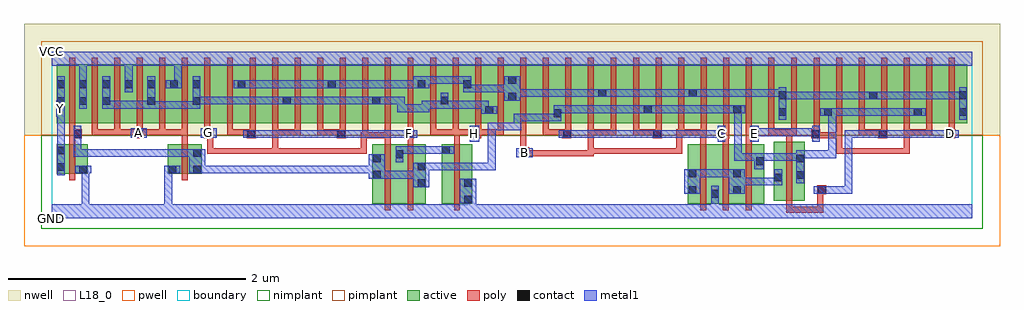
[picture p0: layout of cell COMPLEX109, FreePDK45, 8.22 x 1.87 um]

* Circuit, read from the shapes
.subckt COMPLEX109 A B C D E F G GND H VCC Y
M1 GND n1 Y VSUBS nfet w=0.25u l=0.05u
M2 n1 A GND VSUBS nfet w=0.25u l=0.05u
M3 n2 G n1 VSUBS nfet w=0.5u l=0.05u
M4 n1 F n2 VSUBS nfet w=0.5u l=0.05u
M5 GND H n2 VSUBS nfet w=0.5u l=0.05u
M6 GND B n3 VSUBS nfet w=0.5u l=0.05u
M7 n3 C GND VSUBS nfet w=0.5u l=0.05u
M8 n1 E n3 VSUBS nfet w=0.5u l=0.05u
M9 n1 D n3 VSUBS nfet w=0.5u l=0.05u
M10 VCC n1 Y n4 pfet w=0.5u l=0.05u
M11 n5 A VCC n4 pfet w=0.5u l=0.05u m=5
M12 n6 G n5 n4 pfet w=0.5u l=0.05u
M13 n7 F n6 n4 pfet w=0.5u l=0.05u
M14 n8 F n7 n4 pfet w=0.5u l=0.05u
M15 n5 G n8 n4 pfet w=0.5u l=0.05u
M16 n9 G n5 n4 pfet w=0.5u l=0.05u
M17 n7 F n9 n4 pfet w=0.5u l=0.05u
M18 n10 F n7 n4 pfet w=0.5u l=0.05u
M19 n5 G n10 n4 pfet w=0.5u l=0.05u
M20 n11 G n5 n4 pfet w=0.5u l=0.05u
M21 n7 F n11 n4 pfet w=0.5u l=0.05u
M22 n5 H n7 n4 pfet w=0.5u l=0.05u m=4
M23 n12 B n7 n4 pfet w=0.5u l=0.05u
M24 n1 C n12 n4 pfet w=0.5u l=0.05u
M25 n13 C n1 n4 pfet w=0.5u l=0.05u
M26 n7 B n13 n4 pfet w=0.5u l=0.05u
M27 n14 B n7 n4 pfet w=0.5u l=0.05u
M28 n1 C n14 n4 pfet w=0.5u l=0.05u
M29 n15 C n1 n4 pfet w=0.5u l=0.05u
M30 n7 B n15 n4 pfet w=0.5u l=0.05u
M31 n16 B n7 n4 pfet w=0.5u l=0.05u
M32 n1 C n16 n4 pfet w=0.5u l=0.05u
M33 n17 E n1 n4 pfet w=0.5u l=0.05u
M34 n7 D n17 n4 pfet w=0.5u l=0.05u
M35 n18 D n7 n4 pfet w=0.5u l=0.05u
M36 n1 E n18 n4 pfet w=0.5u l=0.05u
M37 n19 E n1 n4 pfet w=0.5u l=0.05u
M38 n7 D n19 n4 pfet w=0.5u l=0.05u
M39 n20 D n7 n4 pfet w=0.5u l=0.05u
M40 n1 E n20 n4 pfet w=0.5u l=0.05u
M41 n21 E n1 n4 pfet w=0.5u l=0.05u
M42 n7 D n21 n4 pfet w=0.5u l=0.05u
.ends

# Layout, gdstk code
import gdstk
lib = gdstk.Library(unit=1e-6, precision=1e-09)
def R(c, l, rs):  # rectangles x0, y0, x1, y1
    for r in rs: c.add(gdstk.rectangle(r[:2], r[2:], *l))
def A(c, l, x, y, w, h, nx, ny, dx, dy):  # array of equal rectangles
    R(c, l, [(x+i*dx, y+j*dy, x+i*dx+w, y+j*dy+h) for i in range(nx) for j in range(ny)])
active = (1, 0)
pwell = (2, 0)
nwell = (3, 0)
nimplant = (4, 0)
pimplant = (5, 0)
poly = (9, 0)
contact = (10, 0)
metal1 = (11, 0)
L18_0 = (18, 0)
boundary = (235, 0)

complex109 = lib.new_cell('COMPLEX109')
A(complex109, active, 0.04, 0.797, 0.075, 0.403, 5, 1, 0.38, 0)
A(complex109, active, 0.42, 0.797, 0.265, 0.5, 4, 1, 0.19, 0)
A(complex109, active, 1.18, 0.797, 0.225, 0.5, 4, 1, 0.38, 0)
A(complex109, active, 1.405, 0.797, 0.23, 0.5, 3, 1, 0.38, 0)
R(complex109, active, [(3.282,0.12,3.542,0.62), (3.467,0.12,3.542,0.62), (2.7,0.122,2.965,0.622), (2.89,0.122,3.15,0.622), (5.357,0.122,5.622,0.622), (5.547,0.122,5.807,0.622), (5.732,0.122,6,0.622), (5.547,0.132,5.622,0.592), (2.7,0.145,2.775,0.622), (2.89,0.145,2.965,0.592), (3.075,0.145,3.15,0.622), (3.282,0.145,3.357,0.62), (5.357,0.145,5.432,0.622), (5.732,0.145,5.807,0.592), (5.925,0.145,6,0.622), (6.08,0.145,6.155,0.645), (6.08,0.145,6.34,0.645), (6.265,0.145,6.34,0.645), (0.04,0.372,0.115,0.622), (0.04,0.372,0.3,0.622), (0.225,0.372,0.3,0.622), (0.977,0.372,1.052,0.622), (0.977,0.372,1.26,0.622), (1.185,0.372,1.26,0.622), (0.04,0.797,0.3,1.297), (0.225,0.797,0.3,1.297), (0.225,0.797,0.495,1.297), (0.61,0.797,0.685,1.297), (0.99,0.797,1.065,1.297), (1.94,0.797,2.015,1.07), (2.32,0.797,2.395,1.2), (2.545,0.797,2.77,1.297), (2.695,0.797,2.925,1.297), (2.695,0.797,2.77,1.07), (2.925,0.797,3.15,1.297), (3.075,0.797,3.345,1.297), (3.27,0.797,3.535,1.297), (3.27,0.797,3.345,1.07), (3.46,0.797,3.72,1.297), (3.46,0.797,3.535,1.2), (3.645,0.797,3.72,1.07), (3.645,0.797,3.915,1.297), (3.84,0.797,3.915,1.2), (3.84,0.797,4.065,1.297), (4.065,0.797,4.295,1.297), (4.22,0.797,4.445,1.297), (4.22,0.797,4.295,1.07), (4.445,0.797,4.672,1.297), (4.597,0.797,4.672,1.2), (4.597,0.797,4.825,1.297), (4.825,0.797,5.055,1.297), (4.98,0.797,5.205,1.297), (4.98,0.797,5.055,1.07), (5.205,0.797,5.435,1.297), (5.36,0.797,5.435,1.2), (5.36,0.797,5.585,1.297), (5.585,0.797,5.81,1.297), (5.735,0.797,5.965,1.297), (5.735,0.797,5.81,1.07), (5.965,0.797,6.19,1.297), (6.115,0.797,6.19,1.2), (6.115,0.797,6.345,1.297), (6.345,0.797,6.575,1.297), (6.5,0.797,6.725,1.297), (6.5,0.797,6.575,1.07), (6.725,0.797,6.955,1.297), (6.88,0.797,6.955,1.2), (6.88,0.797,7.105,1.297), (7.105,0.797,7.33,1.297), (7.255,0.797,7.485,1.297), (7.255,0.797,7.33,1.07), (7.485,0.797,7.71,1.297), (7.635,0.797,7.71,1.2), (3.075,0.807,3.15,1.2)])
R(complex109, pwell, [(-0.235,-0.235,7.985,0.7)])
R(complex109, nwell, [(-0.235,0.7,7.985,1.635)])
R(complex109, nimplant, [(-0.09,-0.09,7.84,0.7)])
R(complex109, pimplant, [(-0.09,0.7,7.84,1.49)])
A(complex109, poly, 0.145, 0.697, 0.05, 0.095, 13, 1, 0.19, 0)
A(complex109, poly, 1.855, 0.697, 0.05, 0.05, 3, 1, 0.19, 0)
A(complex109, poly, 2.995, 0.697, 0.05, 0.095, 5, 1, 0.19, 0)
A(complex109, poly, 4.135, 0.697, 0.05, 0.095, 13, 1, 0.19, 0)
A(complex109, poly, 4.515, 0.697, 0.05, 0.05, 3, 1, 0.19, 0)
A(complex109, poly, 6.795, 0.697, 0.05, 0.095, 5, 1, 0.19, 0)
A(complex109, poly, 0.145, 0.742, 0.05, 0.61, 40, 1, 0.19, 0)
R(complex109, poly, [(6.185,0.045,6.235,0.14), (6.185,0.045,6.235,0.095), (6.185,0.045,6.235,0.095), (6.185,0.045,6.235,0.095), (6.185,0.045,6.497,0.095), (6.447,0.045,6.497,0.095), (6.447,0.045,6.497,0.095), (6.447,0.045,6.497,0.095), (6.447,0.045,6.497,0.25), (3.387,0.065,3.437,0.675), (2.805,0.067,2.855,0.677), (2.995,0.067,3.045,0.677), (5.462,0.067,5.512,0.677), (5.652,0.067,5.702,0.677), (5.845,0.067,5.895,0.677), (6.185,0.09,6.235,0.7), (6.447,0.2,6.522,0.275), (0.145,0.317,0.195,0.677), (1.095,0.317,1.145,0.677), (3.945,0.52,4.02,0.595), (3.97,0.52,4.02,0.57), (3.97,0.52,4.02,0.57), (3.97,0.52,4.02,0.57), (3.97,0.52,4.02,0.57), (3.97,0.52,4.02,0.57), (3.97,0.52,4.02,0.57), (3.97,0.52,4.217,0.57), (4.167,0.52,4.217,0.57), (4.167,0.52,4.217,0.57), (4.167,0.52,4.217,0.57), (4.167,0.52,4.375,0.57), (4.325,0.52,4.375,0.57), (4.325,0.52,4.375,0.57), (4.325,0.52,4.375,0.57), (4.325,0.52,4.565,0.57), (4.515,0.52,4.565,0.59), (1.31,0.54,1.36,0.59), (1.31,0.54,1.36,0.59), (1.31,0.54,1.36,0.59), (1.31,0.54,1.36,0.722), (1.31,0.54,1.557,0.59), (1.507,0.54,1.557,0.59), (1.507,0.54,1.557,0.59), (1.507,0.54,1.557,0.59), (1.507,0.54,1.772,0.59), (1.722,0.54,1.772,0.59), (1.722,0.54,1.772,0.59), (1.722,0.54,1.772,0.59), (1.722,0.54,1.905,0.59), (1.855,0.54,1.905,0.59), (1.855,0.54,1.905,0.59), (1.855,0.54,1.905,0.59), (1.855,0.54,1.905,0.59), (1.855,0.54,1.905,0.59), (1.855,0.54,1.905,0.747), (1.855,0.54,2.087,0.59), (2.037,0.54,2.087,0.59), (2.037,0.54,2.087,0.59), (2.037,0.54,2.087,0.59), (2.037,0.54,2.22,0.59), (2.17,0.54,2.22,0.59), (2.17,0.54,2.517,0.59), (2.467,0.54,2.517,0.59), (2.467,0.54,2.517,0.59), (2.467,0.54,2.517,0.59), (2.467,0.54,2.65,0.59), (2.6,0.54,2.65,0.59), (2.6,0.54,2.65,0.59), (2.6,0.54,2.65,0.59), (2.6,0.54,2.65,0.59), (2.6,0.54,2.65,0.59), (2.6,0.54,2.65,0.722), (4.515,0.54,4.565,0.59), (4.515,0.54,4.565,0.59), (4.515,0.54,4.565,0.59), (4.515,0.54,4.565,0.59), (4.515,0.54,4.565,0.747), (4.515,0.54,4.697,0.59), (4.647,0.54,4.697,0.59), (4.647,0.54,4.697,0.59), (4.647,0.54,4.697,0.59), (4.647,0.54,4.83,0.59), (4.78,0.54,4.83,0.59), (4.78,0.54,5.175,0.59), (5.125,0.54,5.175,0.59), (5.125,0.54,5.175,0.59), (5.125,0.54,5.175,0.59), (5.125,0.54,5.307,0.59), (5.257,0.54,5.307,0.59), (5.257,0.54,5.307,0.59), (5.257,0.54,5.307,0.59), (5.257,0.54,5.307,0.747), (6.605,0.54,6.655,0.59), (6.605,0.54,6.655,0.59), (6.605,0.54,6.655,0.59), (6.605,0.54,6.655,0.59), (6.605,0.54,6.655,0.59), (6.605,0.54,6.877,0.59), (6.605,0.54,6.655,0.722), (6.827,0.54,6.877,0.59), (6.827,0.54,6.96,0.59), (6.91,0.54,6.96,0.59), (6.91,0.54,7.092,0.59), (7.042,0.54,7.092,0.59), (7.042,0.54,7.092,0.59), (7.042,0.54,7.092,0.59), (7.042,0.54,7.225,0.59), (7.175,0.54,7.225,0.59), (7.175,0.54,7.225,0.59), (7.175,0.54,7.225,0.59), (7.175,0.54,7.225,0.747), (3.945,0.545,3.995,0.792), (3.387,0.625,3.437,0.747), (0.145,0.627,0.195,0.722), (1.095,0.627,1.145,0.747), (2.805,0.627,2.855,0.722), (2.995,0.627,3.045,0.722), (5.462,0.627,5.512,0.747), (5.652,0.627,5.702,0.722), (5.845,0.627,5.895,0.722), (6.185,0.65,6.235,0.747), (0.145,0.672,0.252,0.747), (0.695,0.672,0.77,0.747), (1.285,0.672,1.36,0.747), (1.31,0.672,1.36,0.722), (1.31,0.672,1.36,0.722), (1.64,0.672,1.715,0.747), (2.4,0.672,2.475,0.747), (2.6,0.672,2.665,0.722), (2.615,0.672,2.855,0.722), (2.615,0.672,2.665,0.792), (2.805,0.672,2.855,0.722), (2.805,0.672,2.855,0.722), (2.805,0.672,2.855,0.722), (2.805,0.672,2.855,0.792), (2.972,0.672,3.047,0.747), (3.53,0.672,3.615,0.747), (4.3,0.672,4.375,0.747), (5.06,0.672,5.135,0.747), (5.602,0.672,5.705,0.747), (5.845,0.672,5.952,0.747), (6.397,0.672,6.472,0.747), (6.422,0.672,6.472,0.722), (6.422,0.672,6.472,0.722), (6.422,0.672,6.655,0.722), (6.605,0.672,6.655,0.722), (6.605,0.672,6.655,0.792), (6.96,0.672,7.035,0.747), (7.532,0.672,7.607,0.747), (0.335,0.697,0.385,0.747), (0.335,0.697,0.385,0.747), (0.335,0.697,0.385,0.747), (0.335,0.697,0.575,0.747), (0.525,0.697,0.575,0.747), (0.525,0.697,0.575,0.747), (0.525,0.697,0.575,0.747), (0.525,0.697,0.745,0.747), (0.72,0.697,0.77,0.747), (0.72,0.697,0.77,0.747), (0.72,0.697,0.955,0.747), (0.905,0.697,0.955,0.747), (0.905,0.697,1.145,0.747), (1.095,0.697,1.145,0.747), (1.095,0.697,1.145,0.747), (1.095,0.697,1.145,0.747), (1.475,0.697,1.525,0.747), (1.475,0.697,1.525,0.747), (1.475,0.697,1.525,0.747), (1.475,0.697,1.69,0.747), (1.855,0.697,1.905,0.747), (1.855,0.697,1.905,0.747), (1.855,0.697,2.095,0.747), (2.235,0.697,2.285,0.747), (2.235,0.697,2.285,0.747), (2.235,0.697,2.45,0.747), (3.185,0.697,3.235,0.747), (3.185,0.697,3.235,0.747), (3.185,0.697,3.235,0.747), (3.185,0.697,3.425,0.747), (3.375,0.697,3.437,0.747), (3.387,0.697,3.437,0.747), (3.387,0.697,3.437,0.747), (3.387,0.697,3.58,0.747), (3.565,0.697,3.805,0.747), (3.755,0.697,3.805,0.747), (3.755,0.697,3.805,0.747), (3.755,0.697,3.805,0.747), (4.135,0.697,4.185,0.747), (4.135,0.697,4.185,0.747), (4.135,0.697,4.185,0.747), (4.135,0.697,4.35,0.747), (4.515,0.697,4.565,0.747), (4.515,0.697,4.565,0.747), (4.515,0.697,4.755,0.747), (4.895,0.697,5.11,0.747), (5.06,0.697,5.11,0.747), (5.06,0.697,5.11,0.747), (5.257,0.697,5.307,0.747), (5.257,0.697,5.307,0.747), (5.257,0.697,5.325,0.747), (5.275,0.697,5.512,0.747), (5.462,0.697,5.512,0.747), (5.462,0.697,5.512,0.747), (5.462,0.697,5.515,0.747), (6.035,0.697,6.085,0.747), (6.035,0.697,6.085,0.747), (6.035,0.697,6.085,0.747), (6.035,0.697,6.235,0.747), (6.185,0.697,6.275,0.747), (6.795,0.697,6.845,0.747), (6.795,0.697,6.845,0.747), (6.795,0.697,6.845,0.747), (6.795,0.697,7.01,0.747), (7.175,0.697,7.225,0.747), (7.175,0.697,7.415,0.747), (7.365,0.697,7.415,0.747), (7.365,0.697,7.415,0.747), (7.365,0.697,7.415,0.747)])
A(complex109, contact, 0.425, 0.955, 0.065, 0.065, 3, 1, 0.38, 0)
A(complex109, contact, 0.425, 1.095, 0.065, 0.065, 5, 1, 0.19, 0)
R(complex109, contact, [(3.472,0.125,3.537,0.19), (5.552,0.172,5.617,0.237), (5.362,0.205,5.427,0.27), (5.737,0.205,5.802,0.27), (6.452,0.205,6.517,0.27), (3.08,0.262,3.145,0.327), (3.472,0.265,3.537,0.33), (6.085,0.31,6.15,0.375), (6.27,0.33,6.335,0.395), (2.705,0.332,2.77,0.397), (5.362,0.345,5.427,0.41), (5.737,0.345,5.802,0.41), (0.23,0.377,0.295,0.442), (0.982,0.377,1.047,0.442), (1.19,0.377,1.255,0.442), (0.045,0.397,0.11,0.462), (3.08,0.402,3.145,0.467), (5.93,0.447,5.995,0.512), (6.27,0.47,6.335,0.535), (2.705,0.472,2.77,0.537), (2.895,0.505,2.96,0.57), (1.19,0.517,1.255,0.582), (3.95,0.525,4.015,0.59), (0.045,0.537,0.11,0.602), (3.287,0.54,3.352,0.605), (0.182,0.677,0.247,0.742), (0.7,0.677,0.765,0.742), (1.29,0.677,1.355,0.742), (1.645,0.677,1.71,0.742), (2.405,0.677,2.47,0.742), (2.977,0.677,3.042,0.742), (3.535,0.677,3.6,0.742), (4.305,0.677,4.37,0.742), (5.065,0.677,5.13,0.742), (5.607,0.677,5.672,0.742), (5.882,0.677,5.947,0.742), (6.402,0.677,6.467,0.742), (6.965,0.677,7.03,0.742), (7.537,0.677,7.602,0.742), (4.225,0.85,4.29,0.915), (6.12,0.862,6.185,0.927), (6.505,0.862,6.57,0.927), (7.26,0.862,7.325,0.927), (7.64,0.862,7.705,0.927), (3.65,0.877,3.715,0.942), (4.985,0.885,5.05,0.95), (5.74,0.885,5.805,0.95), (0.045,0.955,0.11,1.02), (0.23,0.955,0.295,1.02), (1.945,0.957,2.01,1.022), (2.7,0.957,2.765,1.022), (3.275,0.957,3.34,1.022), (3.845,0.99,3.91,1.055), (6.885,1,6.95,1.065), (6.12,1.002,6.185,1.067), (7.64,1.002,7.705,1.067), (4.602,1.022,4.667,1.087), (5.365,1.022,5.43,1.087), (0.045,1.095,0.11,1.16), (0.23,1.095,0.295,1.16), (1.565,1.095,1.63,1.16), (2.325,1.095,2.39,1.16), (3.08,1.095,3.145,1.16), (3.465,1.095,3.53,1.16), (3.845,1.13,3.91,1.195)])
A(complex109, metal1, 0.425, 0.92, 0.065, 0.275, 3, 1, 0.38, 0)
R(complex109, metal1, [(0,0,7.75,0.115), (0.25,0.05,0.315,0.395), (0.947,0.05,1.012,0.442), (3.507,0.05,3.572,0.19), (5.552,0.05,5.617,0.202), (3.437,0.125,3.572,0.33), (3.507,0.125,3.572,0.19), (3.507,0.125,3.572,0.19), (5.552,0.137,5.617,0.202), (5.552,0.137,5.617,0.202), (5.552,0.137,5.617,0.272), (5.327,0.205,5.462,0.41), (5.702,0.205,5.837,0.41), (6.417,0.205,6.552,0.27), (6.487,0.205,6.552,0.27), (6.487,0.205,6.552,0.27), (6.487,0.205,6.552,0.27), (6.487,0.205,6.552,0.27), (6.487,0.205,6.72,0.27), (6.655,0.205,6.72,0.27), (6.655,0.205,6.742,0.27), (6.677,0.205,6.742,0.27), (6.677,0.205,6.742,0.742), (3.045,0.262,3.18,0.467), (5.772,0.275,5.975,0.34), (5.91,0.275,5.975,0.34), (5.91,0.275,5.975,0.34), (5.91,0.275,5.975,0.34), (5.91,0.275,6.15,0.34), (6.085,0.275,6.15,0.34), (6.085,0.275,6.15,0.34), (6.085,0.275,6.15,0.41), (6.27,0.295,6.335,0.57), (0.25,0.33,0.315,0.395), (0.25,0.33,0.315,0.395), (0.25,0.33,0.315,0.395), (0.25,0.33,0.315,0.395), (0.25,0.33,0.315,0.442), (2.67,0.332,2.805,0.537), (2.74,0.332,2.805,0.397), (2.74,0.332,2.805,0.397), (2.74,0.332,2.942,0.397), (2.877,0.332,2.942,0.397), (2.877,0.332,3.042,0.397), (2.977,0.332,3.042,0.397), (2.977,0.332,3.11,0.397), (5.397,0.345,5.492,0.41), (5.427,0.345,5.492,0.41), (5.427,0.345,5.63,0.41), (5.565,0.345,5.63,0.41), (5.565,0.345,5.63,0.41), (5.565,0.345,5.63,0.41), (5.565,0.345,5.767,0.41), (0.045,0.362,0.11,0.637), (0.195,0.377,0.33,0.442), (0.25,0.377,0.315,0.442), (0.947,0.377,1.012,0.442), (0.947,0.377,1.012,0.442), (0.947,0.377,1.012,0.442), (0.947,0.377,1.012,0.442), (0.947,0.377,1.012,0.442), (0.947,0.377,1.012,0.442), (0.947,0.377,1.082,0.442), (1.155,0.377,1.29,0.582), (1.225,0.377,1.29,0.442), (1.225,0.377,1.29,0.442), (1.225,0.377,1.457,0.442), (1.392,0.377,1.457,0.442), (1.392,0.377,1.457,0.442), (1.392,0.377,1.457,0.442), (1.392,0.377,1.457,0.442), (1.392,0.377,1.457,0.442), (1.392,0.377,1.595,0.442), (1.53,0.377,1.595,0.442), (1.53,0.377,1.595,0.442), (1.53,0.377,1.595,0.442), (1.53,0.377,1.595,0.442), (1.53,0.377,1.595,0.442), (1.53,0.377,1.837,0.442), (1.772,0.377,1.837,0.442), (1.772,0.377,1.882,0.442), (1.817,0.377,1.882,0.442), (1.817,0.377,2.02,0.442), (1.955,0.377,2.02,0.442), (1.955,0.377,2.02,0.442), (1.955,0.377,2.02,0.442), (1.955,0.377,2.217,0.442), (2.152,0.377,2.217,0.442), (2.152,0.377,2.217,0.442), (2.152,0.377,2.217,0.442), (2.152,0.377,2.355,0.442), (2.29,0.377,2.355,0.442), (2.29,0.377,2.355,0.442), (2.29,0.377,2.355,0.442), (2.29,0.377,2.572,0.442), (2.507,0.377,2.572,0.442), (2.507,0.377,2.642,0.442), (2.577,0.377,2.642,0.442), (2.577,0.377,2.735,0.442), (3.115,0.402,3.18,0.467), (3.115,0.402,3.18,0.467), (3.115,0.402,3.365,0.467), (3.3,0.402,3.365,0.467), (3.3,0.402,3.365,0.467), (3.3,0.402,3.365,0.467), (3.3,0.402,3.542,0.467), (3.477,0.402,3.542,0.467), (3.477,0.402,3.542,0.467), (3.477,0.402,3.542,0.467), (3.477,0.402,3.737,0.467), (3.672,0.402,3.737,0.467), (3.672,0.402,3.737,0.467), (3.672,0.402,3.737,0.467), (3.672,0.402,3.737,0.467), (3.672,0.402,3.737,0.467), (3.672,0.402,3.737,0.467), (3.672,0.402,3.737,0.467), (3.672,0.402,3.737,0.805), (5.917,0.412,5.995,0.547), (2.895,0.47,2.96,0.605), (5.745,0.482,5.81,0.547), (5.745,0.482,5.81,0.547), (5.745,0.482,5.81,0.547), (5.745,0.482,5.982,0.547), (5.745,0.482,5.81,0.95), (5.917,0.482,5.982,0.547), (5.917,0.482,5.982,0.547), (5.93,0.482,6.15,0.547), (6.085,0.482,6.15,0.547), (6.085,0.482,6.15,0.547), (6.085,0.482,6.15,0.547), (6.085,0.482,6.287,0.547), (6.222,0.482,6.287,0.547), (6.222,0.482,6.335,0.547), (6.27,0.505,6.467,0.57), (6.402,0.505,6.467,0.57), (6.402,0.505,6.605,0.57), (6.54,0.505,6.605,0.57), (6.54,0.505,6.605,0.57), (6.54,0.505,6.605,0.57), (6.54,0.505,6.605,0.927), (3.912,0.512,4.05,0.59), (0.182,0.515,0.247,0.58), (0.182,0.515,0.452,0.58), (0.182,0.515,0.247,0.707), (0.387,0.515,0.452,0.58), (0.387,0.515,0.452,0.58), (0.387,0.515,0.452,0.58), (0.387,0.515,0.59,0.58), (0.525,0.515,0.59,0.58), (0.525,0.515,0.732,0.58), (0.667,0.515,0.732,0.58), (0.667,0.515,0.732,0.58), (0.667,0.515,0.732,0.58), (0.667,0.515,0.875,0.58), (0.81,0.515,0.875,0.58), (0.81,0.515,0.875,0.58), (0.81,0.515,0.875,0.58), (0.81,0.515,1.012,0.58), (0.947,0.515,1.012,0.58), (0.947,0.515,1.012,0.58), (0.947,0.515,1.012,0.58), (0.947,0.515,1.22,0.58), (2.895,0.54,3.042,0.605), (2.977,0.54,3.042,0.605), (2.977,0.54,3.18,0.605), (3.115,0.54,3.18,0.605), (3.115,0.54,3.18,0.605), (3.115,0.54,3.18,0.605), (3.115,0.54,3.317,0.605), (3.252,0.54,3.387,0.605), (0.045,0.572,0.11,0.917), (0.182,0.642,0.247,0.707), (0.182,0.642,0.247,0.707), (0.182,0.642,0.247,0.777), (3.52,0.642,3.6,0.777), (5.607,0.642,5.672,0.777), (5.882,0.642,5.952,0.777), (6.402,0.642,6.467,0.777), (0.662,0.677,0.8,0.755), (1.252,0.677,1.39,0.755), (1.61,0.677,1.745,0.742), (1.68,0.677,1.837,0.742), (1.772,0.677,1.837,0.742), (1.772,0.677,1.882,0.742), (1.817,0.677,1.882,0.742), (1.817,0.677,2.02,0.742), (1.955,0.677,2.02,0.742), (1.955,0.677,2.02,0.742), (1.955,0.677,2.02,0.742), (1.955,0.677,2.217,0.742), (2.152,0.677,2.217,0.742), (2.152,0.677,2.217,0.742), (2.152,0.677,2.217,0.742), (2.152,0.677,2.435,0.742), (2.37,0.677,2.435,0.742), (2.37,0.677,2.435,0.742), (2.37,0.677,2.505,0.742), (2.44,0.677,2.572,0.742), (2.507,0.677,2.572,0.742), (2.507,0.677,2.642,0.742), (2.577,0.677,2.642,0.742), (2.577,0.677,2.78,0.742), (2.715,0.677,2.78,0.742), (2.715,0.677,2.78,0.742), (2.715,0.677,2.78,0.742), (2.715,0.677,2.942,0.742), (2.877,0.677,2.942,0.742), (2.877,0.677,3.007,0.742), (2.942,0.677,3.077,0.742), (4.27,0.677,4.405,0.742), (4.34,0.677,4.495,0.742), (4.43,0.677,4.495,0.742), (4.43,0.677,4.565,0.742), (4.5,0.677,4.565,0.742), (4.5,0.677,4.702,0.742), (4.637,0.677,4.702,0.742), (4.637,0.677,4.702,0.742), (4.637,0.677,4.702,0.742), (4.637,0.677,4.84,0.742), (4.775,0.677,4.84,0.742), (4.775,0.677,4.84,0.742), (4.775,0.677,4.84,0.742), (4.775,0.677,5.095,0.742), (5.03,0.677,5.095,0.742), (5.03,0.677,5.095,0.742), (5.03,0.677,5.165,0.742), (5.1,0.677,5.232,0.742), (5.167,0.677,5.232,0.742), (5.167,0.677,5.302,0.742), (5.237,0.677,5.302,0.742), (5.237,0.677,5.44,0.742), (5.375,0.677,5.44,0.742), (5.375,0.677,5.44,0.742), (5.375,0.677,5.44,0.742), (5.375,0.677,5.63,0.742), (5.565,0.677,5.63,0.742), (5.565,0.677,5.672,0.742), (6.677,0.677,6.742,0.742), (6.677,0.677,6.857,0.742), (6.792,0.677,6.857,0.742), (6.792,0.677,6.995,0.742), (6.93,0.677,6.995,0.742), (6.93,0.677,6.995,0.742), (6.93,0.677,6.995,0.742), (6.93,0.677,6.995,0.742), (6.93,0.677,7.065,0.742), (7,0.677,7.152,0.742), (7.087,0.677,7.152,0.742), (7.087,0.677,7.292,0.742), (7.227,0.677,7.292,0.742), (7.227,0.677,7.43,0.742), (7.365,0.677,7.43,0.742), (7.365,0.677,7.43,0.742), (7.365,0.677,7.43,0.742), (7.365,0.677,7.567,0.742), (7.502,0.677,7.567,0.742), (7.502,0.677,7.567,0.742), (7.502,0.677,7.637,0.742), (5.887,0.69,6.012,0.755), (5.947,0.69,6.012,0.755), (5.947,0.69,6.15,0.755), (6.085,0.69,6.15,0.755), (6.085,0.69,6.15,0.755), (6.085,0.69,6.15,0.755), (6.085,0.69,6.33,0.755), (6.265,0.69,6.33,0.755), (6.265,0.69,6.367,0.755), (6.302,0.69,6.367,0.755), (6.302,0.69,6.467,0.755), (3.672,0.74,3.737,0.805), (3.672,0.74,3.817,0.805), (3.752,0.74,3.817,0.805), (3.752,0.74,3.955,0.805), (3.89,0.74,3.955,0.85), (3.89,0.785,3.955,0.85), (3.89,0.785,3.955,0.88), (3.89,0.815,4.112,0.88), (4.047,0.815,4.112,0.88), (4.047,0.815,4.112,0.88), (4.047,0.815,4.112,0.88), (4.047,0.815,4.29,0.88), (4.225,0.815,4.29,0.95), (6.12,0.827,6.185,1.102), (7.64,0.827,7.705,1.102), (0.037,0.852,0.11,0.987), (6.47,0.862,6.605,0.927), (6.54,0.862,6.605,0.927), (6.54,0.862,6.605,0.927), (6.54,0.862,6.69,0.927), (6.625,0.862,6.69,0.927), (6.625,0.862,6.757,0.927), (6.692,0.862,6.757,0.927), (6.692,0.862,6.857,0.927), (6.792,0.862,6.857,0.927), (6.792,0.862,7.015,0.927), (6.95,0.862,7.015,0.927), (6.95,0.862,7.015,0.927), (6.95,0.862,7.015,0.927), (6.95,0.862,7.152,0.927), (7.087,0.862,7.152,0.927), (7.087,0.862,7.29,0.927), (7.225,0.862,7.29,0.927), (7.225,0.862,7.29,0.927), (7.225,0.862,7.36,0.927), (3.615,0.877,3.68,0.942), (3.615,0.877,3.75,0.942), (3.615,0.877,3.68,0.987), (4.225,0.885,4.29,0.95), (4.225,0.885,4.29,0.95), (4.225,0.885,4.427,0.95), (4.362,0.885,4.427,0.95), (4.362,0.885,4.427,0.95), (4.362,0.885,4.427,0.95), (4.362,0.885,4.565,0.95), (4.5,0.885,4.565,0.95), (4.5,0.885,4.702,0.95), (4.637,0.885,4.702,0.95), (4.637,0.885,4.702,0.95), (4.637,0.885,4.702,0.95), (4.637,0.885,4.84,0.95), (4.775,0.885,4.84,0.95), (4.775,0.885,4.957,0.95), (4.892,0.885,4.957,0.95), (4.892,0.885,5.015,0.95), (4.95,0.885,5.085,0.95), (5.02,0.885,5.165,0.95), (5.1,0.885,5.165,0.95), (5.1,0.885,5.232,0.95), (5.167,0.885,5.232,0.95), (5.167,0.885,5.302,0.95), (5.237,0.885,5.302,0.95), (5.237,0.885,5.44,0.95), (5.375,0.885,5.44,0.95), (5.375,0.885,5.44,0.95), (5.375,0.885,5.44,0.95), (5.375,0.885,5.63,0.95), (5.565,0.885,5.63,0.95), (5.565,0.885,5.63,0.95), (5.565,0.885,5.63,0.95), (5.565,0.885,5.77,0.95), (5.705,0.885,5.84,0.95), (5.745,0.885,5.81,0.95), (5.745,0.885,5.81,0.95), (2.907,0.892,2.972,0.957), (2.907,0.892,2.972,0.957), (2.907,0.892,3.18,0.957), (2.907,0.892,2.972,1.022), (3.115,0.892,3.18,0.957), (3.115,0.892,3.18,0.957), (3.115,0.892,3.18,0.987), (0.045,0.92,0.11,1.195), (0.23,0.92,0.295,1.195), (0.805,0.92,0.87,0.985), (0.805,0.92,0.87,0.985), (0.805,0.92,1.012,0.985), (0.947,0.92,1.012,0.985), (0.947,0.92,1.012,0.985), (0.947,0.92,1.012,0.985), (0.947,0.92,1.25,0.985), (0.045,0.922,0.11,0.987), (0.425,0.922,0.59,0.987), (0.525,0.922,0.59,0.987), (0.525,0.922,0.732,0.987), (0.667,0.922,0.732,0.987), (0.667,0.922,0.732,0.987), (0.667,0.922,0.732,0.987), (0.667,0.922,0.87,0.987), (3.115,0.922,3.34,0.987), (3.275,0.922,3.34,0.987), (3.275,0.922,3.34,0.987), (3.275,0.922,3.34,1.057), (3.275,0.922,3.525,0.987), (3.46,0.922,3.525,0.987), (3.46,0.922,3.68,0.987), (1.185,0.957,1.25,1.022), (1.185,0.957,1.25,1.022), (1.185,0.957,1.427,1.022), (1.362,0.957,1.427,1.022), (1.362,0.957,1.427,1.022), (1.362,0.957,1.427,1.022), (1.362,0.957,1.595,1.022), (1.53,0.957,1.595,1.022), (1.53,0.957,1.595,1.022), (1.53,0.957,1.595,1.022), (1.53,0.957,1.837,1.022), (1.772,0.957,1.837,1.022), (1.772,0.957,1.882,1.022), (1.817,0.957,1.882,1.022), (1.817,0.957,1.975,1.022), (1.91,0.957,2.045,1.022), (1.98,0.957,2.045,1.022), (1.98,0.957,2.045,1.022), (1.98,0.957,2.217,1.022), (2.152,0.957,2.217,1.022), (2.152,0.957,2.217,1.022), (2.152,0.957,2.217,1.022), (2.152,0.957,2.355,1.022), (2.29,0.957,2.355,1.022), (2.29,0.957,2.355,1.022), (2.29,0.957,2.355,1.022), (2.29,0.957,2.572,1.022), (2.507,0.957,2.572,1.022), (2.507,0.957,2.642,1.022), (2.577,0.957,2.642,1.022), (2.577,0.957,2.73,1.022), (2.665,0.957,2.8,1.022), (2.735,0.957,2.8,1.022), (2.735,0.957,2.8,1.022), (2.735,0.957,2.972,1.022), (3.81,0.99,3.945,1.195), (6.12,1,6.33,1.065), (6.265,1,6.33,1.065), (6.265,1,6.367,1.065), (6.302,1,6.367,1.065), (6.302,1,6.505,1.065), (6.44,1,6.505,1.065), (6.44,1,6.505,1.065), (6.44,1,6.505,1.065), (6.44,1,6.72,1.065), (6.655,1,6.72,1.065), (6.655,1,6.777,1.065), (6.712,1,6.777,1.065), (6.712,1,6.857,1.065), (6.792,1,6.857,1.065), (6.792,1,6.915,1.065), (6.85,1,6.985,1.065), (6.92,1,7.152,1.065), (7.087,1,7.152,1.065), (7.087,1,7.152,1.065), (7.087,1,7.152,1.065), (7.087,1,7.292,1.065), (7.227,1,7.292,1.065), (7.227,1,7.292,1.065), (7.227,1,7.292,1.065), (7.227,1,7.43,1.065), (7.365,1,7.43,1.065), (7.365,1,7.567,1.065), (7.502,1,7.567,1.065), (7.502,1,7.705,1.065), (7.64,1,7.705,1.065), (7.64,1,7.705,1.065), (3.88,1.022,3.955,1.087), (3.89,1.022,3.955,1.087), (3.89,1.022,4.112,1.087), (4.047,1.022,4.112,1.087), (4.047,1.022,4.197,1.087), (4.132,1.022,4.197,1.087), (4.132,1.022,4.25,1.087), (4.185,1.022,4.25,1.087), (4.185,1.022,4.427,1.087), (4.362,1.022,4.427,1.087), (4.362,1.022,4.427,1.087), (4.362,1.022,4.427,1.087), (4.362,1.022,4.565,1.087), (4.5,1.022,4.565,1.087), (4.5,1.022,4.632,1.087), (4.567,1.022,4.702,1.087), (4.637,1.022,4.702,1.087), (4.637,1.022,4.702,1.087), (4.637,1.022,4.84,1.087), (4.775,1.022,4.84,1.087), (4.775,1.022,4.84,1.087), (4.775,1.022,4.84,1.087), (4.775,1.022,4.977,1.087), (4.912,1.022,4.977,1.087), (4.912,1.022,5.095,1.087), (5.03,1.022,5.095,1.087), (5.03,1.022,5.232,1.087), (5.167,1.022,5.232,1.087), (5.167,1.022,5.302,1.087), (5.237,1.022,5.302,1.087), (5.237,1.022,5.395,1.087), (5.33,1.022,5.465,1.087), (5.4,1.022,5.492,1.087), (5.427,1.022,5.492,1.087), (5.427,1.022,5.63,1.087), (5.565,1.022,5.63,1.087), (5.565,1.022,5.63,1.087), (5.565,1.022,5.63,1.087), (5.565,1.022,5.837,1.087), (5.772,1.022,5.837,1.087), (5.772,1.022,5.837,1.087), (5.772,1.022,5.837,1.087), (5.772,1.022,6.012,1.087), (5.947,1.022,6.012,1.087), (5.947,1.022,6.12,1.087), (6.055,1.022,6.12,1.087), (6.055,1.022,6.185,1.087), (0.615,1.06,0.68,1.195), (3.465,1.06,3.53,1.125), (3.465,1.06,3.53,1.125), (3.465,1.06,3.53,1.195), (3.465,1.06,3.737,1.125), (3.672,1.06,3.737,1.125), (3.672,1.06,3.817,1.125), (3.752,1.06,3.817,1.125), (3.752,1.06,3.875,1.125), (0.96,1.095,1.095,1.16), (1.03,1.095,1.095,1.35), (1.53,1.095,1.665,1.16), (1.6,1.095,1.665,1.16), (1.6,1.095,1.665,1.16), (1.6,1.095,1.802,1.16), (1.737,1.095,1.802,1.16), (1.737,1.095,1.882,1.16), (1.817,1.095,1.882,1.16), (1.817,1.095,2.08,1.16), (2.015,1.095,2.08,1.16), (2.015,1.095,2.08,1.16), (2.015,1.095,2.08,1.16), (2.015,1.095,2.217,1.16), (2.152,1.095,2.217,1.16), (2.152,1.095,2.217,1.16), (2.152,1.095,2.217,1.16), (2.152,1.095,2.355,1.16), (2.29,1.095,2.425,1.16), (2.36,1.095,2.425,1.16), (2.36,1.095,2.425,1.16), (2.36,1.095,2.572,1.16), (2.507,1.095,2.572,1.16), (2.507,1.095,2.642,1.16), (2.577,1.095,2.642,1.16), (2.577,1.095,2.78,1.16), (2.715,1.095,2.78,1.16), (2.715,1.095,2.78,1.16), (2.715,1.095,2.78,1.16), (2.715,1.095,2.942,1.16), (2.877,1.095,2.942,1.16), (2.877,1.095,3.042,1.16), (2.977,1.095,3.042,1.16), (2.977,1.095,3.11,1.16), (3.045,1.095,3.18,1.195), (0.23,1.13,0.295,1.35), (0.615,1.13,0.68,1.35), (3.115,1.13,3.18,1.195), (3.115,1.13,3.18,1.195), (3.115,1.13,3.365,1.195), (3.3,1.13,3.365,1.195), (3.3,1.13,3.365,1.195), (3.3,1.13,3.365,1.195), (3.3,1.13,3.53,1.195), (0,1.285,7.75,1.4)])
R(complex109, L18_0, [(0,0,7.75,0.115), (0.25,0.05,0.315,0.395), (0.947,0.05,1.012,0.442), (3.507,0.05,3.572,0.19), (5.552,0.05,5.617,0.202), (3.437,0.125,3.572,0.33), (3.507,0.125,3.572,0.19), (3.507,0.125,3.572,0.19), (5.552,0.137,5.617,0.202), (5.552,0.137,5.617,0.202), (5.552,0.137,5.617,0.272), (6.417,0.205,6.552,0.27), (6.487,0.205,6.552,0.27), (6.487,0.205,6.552,0.27), (6.487,0.205,6.552,0.27), (6.487,0.205,6.552,0.27), (6.487,0.205,6.72,0.27), (6.655,0.205,6.72,0.27), (6.655,0.205,6.742,0.27), (6.677,0.205,6.742,0.27), (6.677,0.205,6.742,0.742), (0.25,0.33,0.315,0.395), (0.25,0.33,0.315,0.395), (0.25,0.33,0.315,0.395), (0.25,0.33,0.315,0.395), (0.25,0.33,0.315,0.442), (0.045,0.362,0.11,0.637), (0.195,0.377,0.33,0.442), (0.25,0.377,0.315,0.442), (0.947,0.377,1.012,0.442), (0.947,0.377,1.012,0.442), (0.947,0.377,1.012,0.442), (0.947,0.377,1.012,0.442), (0.947,0.377,1.012,0.442), (0.947,0.377,1.012,0.442), (0.947,0.377,1.082,0.442), (3.912,0.512,4.05,0.59), (3.947,0.517,4.012,0.582), (0.045,0.572,0.11,0.917), (3.52,0.642,3.6,0.777), (5.607,0.642,5.672,0.777), (5.882,0.642,5.952,0.777), (6.402,0.642,6.467,0.777), (0.662,0.677,0.8,0.755), (1.252,0.677,1.39,0.755), (1.61,0.677,1.745,0.742), (1.68,0.677,1.837,0.742), (1.772,0.677,1.837,0.742), (1.772,0.677,1.882,0.742), (1.817,0.677,1.882,0.742), (1.817,0.677,2.02,0.742), (1.955,0.677,2.02,0.742), (1.955,0.677,2.02,0.742), (1.955,0.677,2.02,0.742), (1.955,0.677,2.217,0.742), (2.152,0.677,2.217,0.742), (2.152,0.677,2.217,0.742), (2.152,0.677,2.217,0.742), (2.152,0.677,2.435,0.742), (2.37,0.677,2.435,0.742), (2.37,0.677,2.435,0.742), (2.37,0.677,2.505,0.742), (2.44,0.677,2.572,0.742), (2.507,0.677,2.572,0.742), (2.507,0.677,2.642,0.742), (2.577,0.677,2.642,0.742), (2.577,0.677,2.78,0.742), (2.715,0.677,2.78,0.742), (2.715,0.677,2.78,0.742), (2.715,0.677,2.78,0.742), (2.715,0.677,2.942,0.742), (2.877,0.677,2.942,0.742), (2.877,0.677,3.007,0.742), (2.942,0.677,3.077,0.742), (2.977,0.677,3.042,0.742), (3.527,0.677,3.592,0.742), (4.27,0.677,4.405,0.742), (4.34,0.677,4.495,0.742), (4.43,0.677,4.495,0.742), (4.43,0.677,4.565,0.742), (4.5,0.677,4.565,0.742), (4.5,0.677,4.702,0.742), (4.637,0.677,4.702,0.742), (4.637,0.677,4.702,0.742), (4.637,0.677,4.702,0.742), (4.637,0.677,4.84,0.742), (4.775,0.677,4.84,0.742), (4.775,0.677,4.84,0.742), (4.775,0.677,4.84,0.742), (4.775,0.677,5.095,0.742), (5.03,0.677,5.095,0.742), (5.03,0.677,5.095,0.742), (5.03,0.677,5.165,0.742), (5.1,0.677,5.232,0.742), (5.167,0.677,5.232,0.742), (5.167,0.677,5.302,0.742), (5.237,0.677,5.302,0.742), (5.237,0.677,5.44,0.742), (5.375,0.677,5.44,0.742), (5.375,0.677,5.44,0.742), (5.375,0.677,5.44,0.742), (5.375,0.677,5.63,0.742), (5.565,0.677,5.63,0.742), (5.565,0.677,5.672,0.742), (5.607,0.677,5.672,0.742), (5.887,0.677,5.952,0.742), (6.677,0.677,6.742,0.742), (6.677,0.677,6.857,0.742), (6.792,0.677,6.857,0.742), (6.792,0.677,6.995,0.742), (6.93,0.677,6.995,0.742), (6.93,0.677,6.995,0.742), (6.93,0.677,6.995,0.742), (6.93,0.677,6.995,0.742), (6.93,0.677,7.065,0.742), (7,0.677,7.152,0.742), (7.087,0.677,7.152,0.742), (7.087,0.677,7.292,0.742), (7.227,0.677,7.292,0.742), (7.227,0.677,7.43,0.742), (7.365,0.677,7.43,0.742), (7.365,0.677,7.43,0.742), (7.365,0.677,7.43,0.742), (7.365,0.677,7.567,0.742), (7.502,0.677,7.567,0.742), (7.502,0.677,7.567,0.742), (7.502,0.677,7.637,0.742), (7.537,0.677,7.602,0.742), (0.697,0.687,0.762,0.752), (1.287,0.687,1.352,0.752), (5.887,0.69,6.012,0.755), (5.947,0.69,6.012,0.755), (5.947,0.69,6.15,0.755), (6.085,0.69,6.15,0.755), (6.085,0.69,6.15,0.755), (6.085,0.69,6.15,0.755), (6.085,0.69,6.33,0.755), (6.265,0.69,6.33,0.755), (6.265,0.69,6.367,0.755), (6.302,0.69,6.367,0.755), (6.302,0.69,6.467,0.755), (0.037,0.852,0.11,0.987), (0.037,0.887,0.102,0.952), (0.045,0.92,0.11,1.195), (0.23,0.92,0.295,1.195), (0.045,0.922,0.11,0.987), (0.615,1.06,0.68,1.195), (0.96,1.095,1.095,1.16), (1.03,1.095,1.095,1.35), (0.23,1.13,0.295,1.35), (0.615,1.13,0.68,1.35), (0,1.285,7.75,1.4)])
R(complex109, boundary, [(0,0,7.75,1.4)])
complex109.add(gdstk.Label('A', (0.73,0.72), layer=11, texttype=0))
complex109.add(gdstk.Label('B', (3.98,0.55), layer=11, texttype=0))
complex109.add(gdstk.Label('C', (5.64,0.71), layer=11, texttype=0))
complex109.add(gdstk.Label('D', (7.57,0.71), layer=11, texttype=0))
complex109.add(gdstk.Label('E', (5.92,0.71), layer=11, texttype=0))
complex109.add(gdstk.Label('F', (3.01,0.71), layer=11, texttype=0))
complex109.add(gdstk.Label('G', (1.32,0.72), layer=11, texttype=0))
complex109.add(gdstk.Label('H', (3.56,0.71), layer=11, texttype=0))
complex109.add(gdstk.Label('Y', (0.07,0.92), layer=11, texttype=0))
complex109.add(gdstk.Label('VCC', (0,1.4), layer=11, texttype=0))
complex109.add(gdstk.Label('GND', (0,0), layer=11, texttype=0))

lib.write_gds('COMPLEX109.gds')
